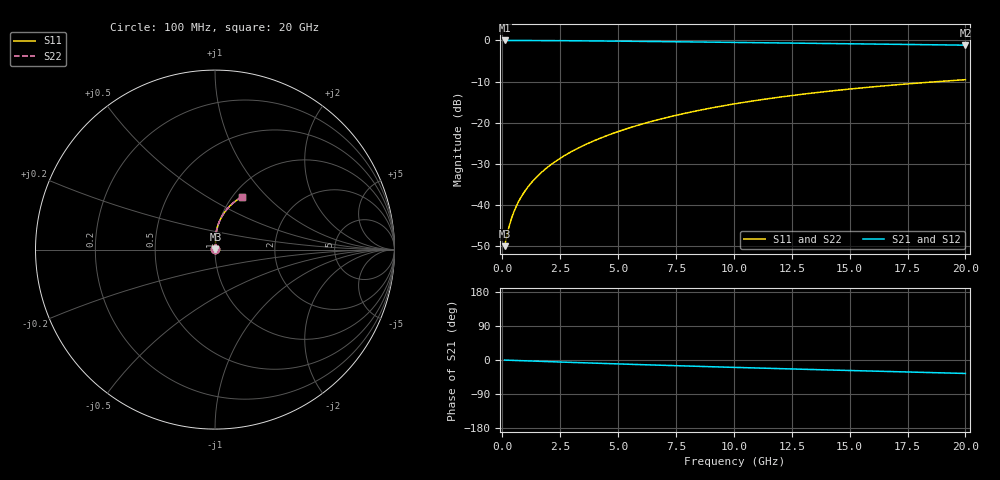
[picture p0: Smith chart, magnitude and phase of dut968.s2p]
! Touchstone file exported from HFSS 2024.1.0
!  File:  C:/UserFiles/LocalFiles/RDL_TSV_Batchsim/temp_RDL_bottom_968_1779942898.aedt
!  Generated:  12:37:30 PM May 28, 2026
!  Design:  RDL_bottom
!  Project:  temp_RDL_bottom_968_1779942898
!  Setup:  Setup1
!  Solution:  Sweep
! Variables:
!  dtsv = 10.80580581um
!  hbump = 3um
!  htsv = 77.87um
!  ldown = 469.38um
!  lrdl = 100um
!  p = 40
!  p1 = 57.37um
!  rhole = 1um
!  t = 450um
!  tdown = 2.61um
!  trdl = 3.915915916um
!  wdown = 26.61um
!  wrdl = 20um
# GHz S MA R 50.000000
! Terminal data exported
! Port[1] = RDL1_T1
! Port[2] = RDL1_T2
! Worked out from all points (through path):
!   200 points, 100 MHz to 20 GHz, reference 50 ohm
!   highest |S21| = -0.02 dB at 100 MHz (marker M1); lowest = -1.2 dB at 20 GHz (marker M2)
!   group delay of S21, straight-line fit = 4.87 ps
!   lowest |S11| = -50.0 dB at 100 MHz (marker M3), VSWR 1.01, Z = 50.3 + j0.163 ohm
!   |S11| at or under -10 dB: start of sweep to 18.85 GHz
!   |S22| runs from -50.0 to -9.6 dB; largest |S21 - S12| = 3.5e-15
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0.1  0.003157 30.9  0.9973 -0.2  0.9973 -0.2  0.003157 30.9
! Gamma 0 0 0 0
! Port Impedance 50 0 50 0
0.2  0.004256 48.7  0.9971 -0.5  0.9971 -0.5  0.004256 48.7
0.3  0.005552 58.1  0.997 -0.7  0.997 -0.7  0.005552 58.1
0.4  0.006893 63.7  0.9968 -0.9  0.9968 -0.9  0.006893 63.7
0.5  0.00824 67.6  0.9966 -1.1  0.9966 -1.1  0.008239 67.6
0.6  0.009588 70.4  0.9964 -1.3  0.9964 -1.3  0.009588 70.4
0.8  0.0123 74.4  0.996 -1.7  0.996 -1.7  0.0123 74.5
1.1  0.01644 78.4  0.9954 -2.4  0.9954 -2.4  0.01644 78.4
1.3  0.01925 80.2  0.995 -2.8  0.995 -2.8  0.01925 80.2
1.6  0.02354 82.1  0.9942 -3.4  0.9942 -3.4  0.02354 82.1
2.1  0.03088 84.3  0.9927 -4.5  0.9927 -4.5  0.03088 84.3
2.7  0.03999 85.8  0.9904 -5.7  0.9904 -5.7  0.03999 85.8
3.5  0.05266 86.8  0.9867 -7.4  0.9867 -7.4  0.05267 86.8
4.2  0.06422 87.1  0.9829 -8.8  0.9829 -8.8  0.06422 87.1
5  0.07789 86.9  0.9783 -10.4  0.9783 -10.4  0.0779 86.9
6.8  0.11 85.2  0.9667 -13.8  0.9667 -13.8  0.11 85.3
8.4  0.1393 82.9  0.9557 -16.7  0.9557 -16.7  0.1394 82.9
10.1  0.1705 80.0  0.9439 -19.6  0.9439 -19.6  0.1705 80.1
11.7  0.1993 77.2  0.9327 -22.4  0.9327 -22.4  0.1994 77.2
13.4  0.2291 74.1  0.9208 -25.2  0.9208 -25.2  0.2291 74.1
16.7  0.2835 68.2  0.8975 -30.4  0.8975 -30.4  0.2835 68.2
20  0.3328 62.6  0.8741 -35.5  0.8741 -35.5  0.3329 62.7
